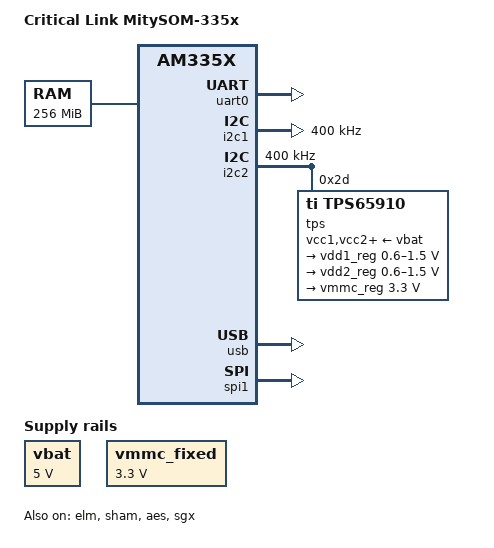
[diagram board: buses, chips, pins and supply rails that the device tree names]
/*
 * Copyright (C) 2016 Critical Link LLC - http://criticallink.com/
 *
 * This program is free software; you can redistribute it and/or modify
 * it under the terms of the GNU General Public License version 2 as
 * published by the Free Software Foundation.
 */

#include "am33xx.dtsi"
#include <dt-bindings/interrupt-controller/irq.h>

/ {
	model = "Critical Link MitySOM-335x";
	compatible = "ti,am33xx", "ti,am335x-evm";

	cpus {
		cpu@0 {
			cpu0-supply = <&vdd1_reg>;
		};
	};

	memory {
		device_type = "memory";
		reg = <0x80000000 0x10000000>; /* 256 MB */
	};

	vbat: fixedregulator@0 {
		compatible = "regulator-fixed";
		regulator-name = "vbat";
		regulator-min-microvolt = <5000000>;
		regulator-max-microvolt = <5000000>;
		regulator-boot-on;
	};

	vmmc_fixed: fixedregulator@1 {
		compatible = "regulator-fixed";
		regulator-name = "vmmc_fixed";
		regulator-min-microvolt = <3300000>;
		regulator-max-microvolt = <3300000>;
		regulator-boot-on;
	};
};

&am33xx_pinmux {

	uart0_pins: pinmux_uart0_pins {
		pinctrl-single,pins = <
			AM33XX_IOPAD(0x970, PIN_INPUT_PULLUP | MUX_MODE0)		/* uart0_rxd.uart0_rxd */
			AM33XX_IOPAD(0x974, PIN_OUTPUT_PULLDOWN | MUX_MODE0)	/* uart0_txd.uart0_txd */
		>;
	};

	i2c1_pins_default: pinmux_i2c1_pins {
		pinctrl-single,pins = <
			AM33XX_IOPAD(0x90C, PIN_INPUT_PULLUP | MUX_MODE3)	/* mii1_crs.i2c1_sda */
			AM33XX_IOPAD(0x910, PIN_INPUT_PULLUP | MUX_MODE3)	/* mii1_rxerr.i2c1_scl */
		>;
	};

	i2c1_pins_sleep: i2c1_pins_sleep {
		pinctrl-single,pins = <
			AM33XX_IOPAD(0x90C, PIN_INPUT_PULLDOWN | MUX_MODE7)	/* mii1_crs.i2c1_sda */
			AM33XX_IOPAD(0x910, PIN_INPUT_PULLDOWN | MUX_MODE7)	/* mii1_rxerr.i2c1_scl */
		>;
	};

	i2c2_pins_default: pinmux_i2c2_pins {
		pinctrl-single,pins = <
			AM33XX_IOPAD(0x978, PIN_INPUT_PULLUP | MUX_MODE3)	/* uart1_ctsn.i2c2_sda SOM */
			AM33XX_IOPAD(0x97C, PIN_INPUT_PULLUP | MUX_MODE3)	/* uart1_rtsn.i2c2_scl SOM */
		>;
	};

	i2c2_pins_sleep: i2c2_pins_sleep {
		pinctrl-single,pins = <
			AM33XX_IOPAD(0x978, PIN_INPUT_PULLUP | MUX_MODE3)	/* uart1_ctsn.i2c2_sda */
			AM33XX_IOPAD(0x97C, PIN_INPUT_PULLUP | MUX_MODE3)	/* uart1_rtsn.i2c2_scl */
		>;
	};

	spi1_pins: pinmux_spi1_pins {
		pinctrl-single,pins = <
			AM33XX_IOPAD(0x964, PIN_INPUT_PULLUP | MUX_MODE4)	/* ecap0_in_pwm0_out.spi1_sclk */
			AM33XX_IOPAD(0x994, PIN_INPUT_PULLUP | MUX_MODE3)	/* mcasp0_fsx.spi1_d0 MOSI*/
			AM33XX_IOPAD(0x998, PIN_INPUT_PULLDOWN | MUX_MODE3)	/* mcasp0_axr0.spi1_d1 MISO*/
			AM33XX_IOPAD(0x99C, PIN_INPUT_PULLUP | MUX_MODE3)	/* mcasp0_ahclkr.spi1_cs0 SOM */
		>;
	};

	spi1_sleep_pins: pinmux_spi1_sleep_pins {
		pinctrl-single,pins = <
			AM33XX_IOPAD(0x964, PIN_INPUT_PULLUP | MUX_MODE7)	/* ecap0_in_pwm0_out.spi1_sclk */
			AM33XX_IOPAD(0x994, PIN_INPUT_PULLUP | MUX_MODE7)	/* mcasp0_fsx.spi1_d0 MOSI */
			AM33XX_IOPAD(0x998, PIN_INPUT_PULLUP | MUX_MODE7)	/* mcasp0_axr0.spi1_d1 MISO */
			AM33XX_IOPAD(0x99C, PIN_INPUT_PULLUP | MUX_MODE7)	/* mcasp0_ahclkr.spi1_cs0 SOM */
		>;
	};

	nandflash_pins_default: nandflash_pins_default {
		pinctrl-single,pins = <
			AM33XX_IOPAD(0x800, PIN_INPUT_PULLUP | MUX_MODE0)	/* gpmc_ad0.gpmc_ad0 */
			AM33XX_IOPAD(0x804, PIN_INPUT_PULLUP | MUX_MODE0)	/* gpmc_ad1.gpmc_ad1 */
			AM33XX_IOPAD(0x808, PIN_INPUT_PULLUP | MUX_MODE0)	/* gpmc_ad2.gpmc_ad2 */
			AM33XX_IOPAD(0x80C, PIN_INPUT_PULLUP | MUX_MODE0)	/* gpmc_ad3.gpmc_ad3 */
			AM33XX_IOPAD(0x810, PIN_INPUT_PULLUP | MUX_MODE0)	/* gpmc_ad4.gpmc_ad4 */
			AM33XX_IOPAD(0x814, PIN_INPUT_PULLUP | MUX_MODE0)	/* gpmc_ad5.gpmc_ad5 */
			AM33XX_IOPAD(0x818, PIN_INPUT_PULLUP | MUX_MODE0)	/* gpmc_ad6.gpmc_ad6 */
			AM33XX_IOPAD(0x81C, PIN_INPUT_PULLUP | MUX_MODE0)	/* gpmc_ad7.gpmc_ad7 */
			AM33XX_IOPAD(0x870, PIN_INPUT_PULLUP | MUX_MODE0)	/* gpmc_wait0.gpmc_wait0 */
			AM33XX_IOPAD(0x874, PIN_INPUT_PULLUP | MUX_MODE0)	/* gpmc_wpn.gpmc_wpn */
			AM33XX_IOPAD(0x87C, PIN_OUTPUT | MUX_MODE0)			/* gpmc_csn0.gpmc_csn0  */
			AM33XX_IOPAD(0x890, PIN_OUTPUT | MUX_MODE0)			/* gpmc_advn_ale.gpmc_advn_ale */
			AM33XX_IOPAD(0x894, PIN_OUTPUT | MUX_MODE0)			/* gpmc_oen_ren.gpmc_oen_ren */
			AM33XX_IOPAD(0x898, PIN_OUTPUT | MUX_MODE0)			/* gpmc_wen.gpmc_wen */
			AM33XX_IOPAD(0x89C, PIN_OUTPUT | MUX_MODE0)			/* gpmc_be0_cle.gpmc_be0_cle */
		>;
	};

	nandflash_pins_sleep: nandflash_pins_sleep {
		pinctrl-single,pins = <
			AM33XX_IOPAD(0x800, PIN_INPUT_PULLDOWN | MUX_MODE7)
			AM33XX_IOPAD(0x804, PIN_INPUT_PULLDOWN | MUX_MODE7)
			AM33XX_IOPAD(0x808, PIN_INPUT_PULLDOWN | MUX_MODE7)
			AM33XX_IOPAD(0x80C, PIN_INPUT_PULLDOWN | MUX_MODE7)
			AM33XX_IOPAD(0x810, PIN_INPUT_PULLDOWN | MUX_MODE7)
			AM33XX_IOPAD(0x814, PIN_INPUT_PULLDOWN | MUX_MODE7)
			AM33XX_IOPAD(0x818, PIN_INPUT_PULLDOWN | MUX_MODE7)
			AM33XX_IOPAD(0x81C, PIN_INPUT_PULLDOWN | MUX_MODE7)
			AM33XX_IOPAD(0x870, PIN_INPUT_PULLDOWN | MUX_MODE7)
			AM33XX_IOPAD(0x874, PIN_INPUT_PULLDOWN | MUX_MODE7)
			AM33XX_IOPAD(0x87C, PIN_INPUT_PULLDOWN | MUX_MODE7)
			AM33XX_IOPAD(0x890, PIN_INPUT_PULLDOWN | MUX_MODE7)
			AM33XX_IOPAD(0x894, PIN_INPUT_PULLDOWN | MUX_MODE7)
			AM33XX_IOPAD(0x898, PIN_INPUT_PULLDOWN | MUX_MODE7)
			AM33XX_IOPAD(0x89C, PIN_INPUT_PULLDOWN | MUX_MODE7)
		>;
	};
};

/* Debug Console */
&uart0 {
	pinctrl-names = "default";
	pinctrl-0 = <&uart0_pins>;

	status = "okay";
};

/* EEPROM, PMIC, and Baseboard I2C */
&i2c1 {
	pinctrl-names = "default", "sleep";
	pinctrl-0 = <&i2c1_pins_default>;
	pinctrl-1 = <&i2c1_pins_sleep>;

	status = "okay";
	clock-frequency = <400000>;

	/* Factory EEPROM 0x50 - 0x57 */
	/* PMIC SmartReflex 0x12 */
};

/* PMIC I2C Only */
&i2c2 {
	pinctrl-names = "default", "sleep";
	pinctrl-0 = <&i2c2_pins_default>;
	pinctrl-1 = <&i2c2_pins_sleep>;

	status = "okay";
	clock-frequency = <400000>;

	tps: tps@2d {
		compatible = "ti,tps65910";
		reg = <0x2d>;
	};
};

/* PMIC TPS65910 */
#include "tps65910.dtsi"
&tps {
	vcc1-supply = <&vbat>;
	vcc2-supply = <&vbat>;
	vcc3-supply = <&vbat>;
	vcc4-supply = <&vbat>;
	vcc5-supply = <&vbat>;
	vcc6-supply = <&vbat>;
	vcc7-supply = <&vbat>;
	vccio-supply = <&vbat>;

	regulators {
		vrtc_reg: regulator@0 {
			regulator-always-on;
		};

		vio_reg: regulator@1 {
			regulator-always-on;
		};

		vdd1_reg: regulator@2 {
			/* from board-mityarm335x.c */
			regulator-name = "vdd_mpu";
			regulator-min-microvolt = <600000>;
			regulator-max-microvolt = <1500000>;
			regulator-boot-on;
			regulator-always-on;
		};

		vdd2_reg: regulator@3 {
			/* from board-mityarm335x.c */
			regulator-name = "vdd_core";
			regulator-min-microvolt = <600000>;
			regulator-max-microvolt = <1500000>;
			regulator-boot-on;
			regulator-always-on;
		};

		vdd3_reg: regulator@4 {
			regulator-always-on;
		};

		vdig1_reg: regulator@5 {
			regulator-always-on;
		};

		vdig2_reg: regulator@6 {
			regulator-always-on;
		};

		vpll_reg: regulator@7 {
			regulator-always-on;
		};

		vdac_reg: regulator@8 {
			regulator-always-on;
		};

		vaux1_reg: regulator@9 {
			regulator-always-on;
		};

		vaux2_reg: regulator@10 {
			regulator-always-on;
		};

		vaux33_reg: regulator@11 {
			regulator-always-on;
		};

		vmmc_reg: regulator@12 {
			regulator-name = "vmmc_33";
			regulator-min-microvolt = <3300000>;
			regulator-max-microvolt = <3300000>;
			regulator-boot-on;
			regulator-always-on;
		};
	};
};

/* USB */
&usb {
	status = "okay";

	control@44e10620 {
		status = "okay";
	};

	usb-phy@47401300 {
		status = "okay";
	};

	usb-phy@47401b00 {
		status = "okay";
	};

	usb0: usb@47401000 {
		status = "okay";
	};

	usb1: usb@47401800 {
		status = "okay";
	};

	dma-controller@47402000  {
		status = "okay";
	};
};

/* Nand */
&elm {
	status = "okay";
};

&gpmc {
	status = "disabled";
	pinctrl-names = "default", "sleep";
	pinctrl-0 = <&nandflash_pins_default>;
	pinctrl-1 = <&nandflash_pins_sleep>;
};

/* SPI NOR (not on all modules) and Baseboard */
&spi1 {
	pinctrl-names = "default", "sleep";
	pinctrl-0 = <&spi1_pins>;
	pinctrl-1 = <&spi1_sleep_pins>;

	status = "okay";
	ti,pindir-d0-out-d1-in = <1>;
};

/* DMA */
&edma {
	ti,edma-xbar-event-map = /bits/ 16 <1 12
					    2 13>;
};

/* SHA/MD5 accelerator */
&sham {
	status = "okay";
};

/* AES accelerator */
&aes {
	status = "okay";
};

&wkup_m3 {
	ti,scale-data-fw = "am335x-evm-scale-data.bin";
};

&sgx {
	status = "okay";
};
